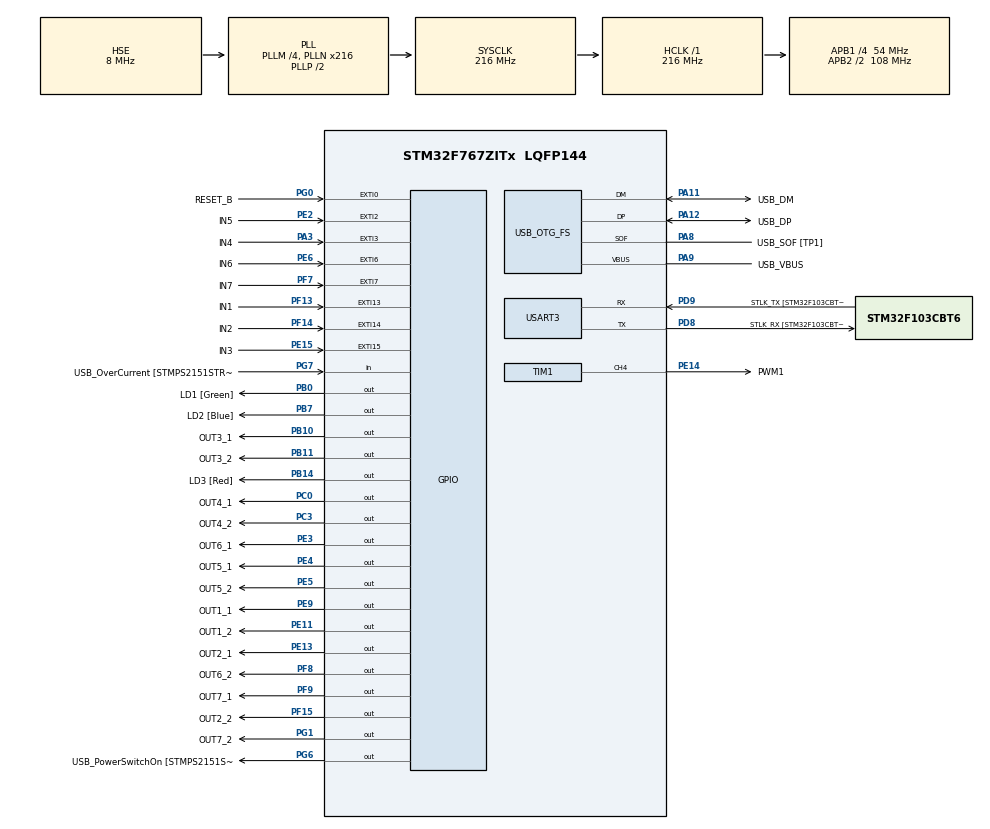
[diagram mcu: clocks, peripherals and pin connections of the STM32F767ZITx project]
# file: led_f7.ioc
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Mcu.Family=STM32F7
Mcu.Name=STM32F767ZITx
Mcu.Package=LQFP144
NVIC.EXTI0_IRQn=true\:0\:0\:false\:false\:true\:true\:true\:true
NVIC.EXTI15_10_IRQn=true\:1\:0\:true\:false\:true\:true\:true\:true
NVIC.EXTI2_IRQn=true\:0\:0\:false\:false\:true\:true\:true\:true
NVIC.EXTI3_IRQn=true\:0\:0\:false\:false\:true\:true\:true\:true
NVIC.EXTI9_5_IRQn=true\:0\:0\:false\:false\:true\:true\:true\:true
NVIC.PriorityGroup=NVIC_PRIORITYGROUP_4
PA1.GPIO_Label=RMII_REF_CLK [LAN8742A-CZ-TR_REFCLK0]
PA1.Signal=ETH_REF_CLK
PA10.GPIO_Label=USB_ID
PA10.Signal=USB_OTG_FS_ID
PA11.GPIO_Label=USB_DM
PA11.Mode=Device_Only
PA11.Signal=USB_OTG_FS_DM
PA12.GPIO_Label=USB_DP
PA12.Mode=Device_Only
PA12.Signal=USB_OTG_FS_DP
PA13.GPIO_Label=TMS
PA13.Mode=Serial_Wire
PA13.Signal=SYS_JTMS-SWDIO
PA14.GPIO_Label=TCK
PA14.Mode=Serial_Wire
PA14.Signal=SYS_JTCK-SWCLK
PA2.GPIO_Label=RMII_MDIO [LAN8742A-CZ-TR_MDIO]
PA2.Signal=ETH_MDIO
PA3.GPIO_Label=IN4
PA3.Signal=GPXTI3
PA7.GPIO_Label=RMII_CRS_DV [LAN8742A-CZ-TR_CRS_DV]
PA7.Signal=ETH_CRS_DV
PA8.GPIO_Label=USB_SOF [TP1]
PA8.Mode=Activate_SOF_FS
PA8.Signal=USB_OTG_FS_SOF
PA9.GPIO_Label=USB_VBUS
PA9.Mode=Activate_VBUS
PA9.Signal=USB_OTG_FS_VBUS
PB0.GPIO_Label=LD1 [Green]
PB0.Signal=GPIO_Output
PB10.GPIO_Label=OUT3_1
PB10.Signal=GPIO_Output
PB11.GPIO_Label=OUT3_2
PB11.Signal=GPIO_Output
PB13.GPIO_Label=RMII_TXD1 [LAN8742A-CZ-TR_TXD1]
PB13.Signal=ETH_TXD1
PB14.GPIO_Label=LD3 [Red]
PB14.Signal=GPIO_Output
PB3.GPIO_Label=SWO
PB3.Signal=SYS_JTDO-SWO
PB7.GPIO_Label=LD2 [Blue]
PB7.Signal=GPIO_Output
PC0.GPIO_Label=OUT4_1
PC0.Signal=GPIO_Output
PC1.GPIO_Label=RMII_MDC [LAN8742A-CZ-TR_MDC]
PC1.Signal=ETH_MDC
PC14/OSC32_IN.Mode=LSE-External-Oscillator
PC14/OSC32_IN.Signal=RCC_OSC32_IN
PC15/OSC32_OUT.Mode=LSE-External-Oscillator
PC15/OSC32_OUT.Signal=RCC_OSC32_OUT
PC3.GPIO_Label=OUT4_2
PC3.Signal=GPIO_Output
PC4.GPIO_Label=RMII_RXD0 [LAN8742A-CZ-TR_RXD0]
PC4.Signal=ETH_RXD0
PC5.GPIO_Label=RMII_RXD1 [LAN8742A-CZ-TR_RXD1]
PC5.Signal=ETH_RXD1
PD8.GPIO_Label=STLK_RX [STM32F103CBT6_PA3]
PD8.Mode=Asynchronous
PD8.Signal=USART3_TX
PD9.GPIO_Label=STLK_TX [STM32F103CBT6_PA2]
PD9.Mode=Asynchronous
PD9.Signal=USART3_RX
PE11.GPIO_Label=OUT1_2
PE11.Signal=GPIO_Output
PE13.GPIO_Label=OUT2_1
PE13.Signal=GPIO_Output
PE14.GPIO_Label=PWM1
PE14.GPIO_Speed=GPIO_SPEED_FREQ_VERY_HIGH
PE14.Signal=S_TIM1_CH4
PE15.GPIO_Label=IN3
PE15.Signal=GPXTI15
PE2.GPIO_Label=IN5
PE2.Signal=GPXTI2
PE3.GPIO_Label=OUT6_1
PE3.Signal=GPIO_Output
PE4.GPIO_Label=OUT5_1
PE4.Signal=GPIO_Output
PE5.GPIO_Label=OUT5_2
PE5.Signal=GPIO_Output
PE6.GPIO_Label=IN6
PE6.Signal=GPXTI6
PE9.GPIO_Label=OUT1_1
PE9.Signal=GPIO_Output
PF13.GPIO_Label=IN1
PF13.GPIO_PuPd=GPIO_NOPULL
PF13.Signal=GPXTI13
PF14.GPIO_Label=IN2
PF14.Signal=GPXTI14
PF15.GPIO_Label=OUT2_2
PF15.Signal=GPIO_Output
PF7.GPIO_Label=IN7
PF7.Signal=GPXTI7
PF8.GPIO_Label=OUT6_2
PF8.Signal=GPIO_Output
PF9.GPIO_Label=OUT7_1
PF9.Signal=GPIO_Output
PG0.GPIO_Label=RESET_B
PG0.Signal=GPXTI0
PG1.GPIO_Label=OUT7_2
PG1.Signal=GPIO_Output
PG11.GPIO_Label=RMII_TX_EN [LAN8742A-CZ-TR_TXEN]
PG11.Signal=ETH_TX_EN
PG13.GPIO_Label=RMII_TXD0 [LAN8742A-CZ-TR_TXD0]
PG13.Signal=ETH_TXD0
PG6.GPIO_Label=USB_PowerSwitchOn [STMPS2151STR_EN]
PG6.Signal=GPIO_Output
PG7.GPIO_Label=USB_OverCurrent [STMPS2151STR_FAULT]
PG7.Signal=GPIO_Input
PH0/OSC_IN.GPIO_Label=MCO [STM32F103CBT6_PA8]
PH0/OSC_IN.Mode=HSE-External-Clock-Source
PH0/OSC_IN.Signal=RCC_OSC_IN
PH1/OSC_OUT.Mode=HSE-External-Clock-Source
PH1/OSC_OUT.Signal=RCC_OSC_OUT
ProjectManager.HeapSize=0x200
ProjectManager.StackSize=0x400
ProjectManager.TargetToolchain=STM32CubeIDE
RCC.48MHZClocksFreq_Value=24000000
RCC.AHBFreq_Value=216000000
RCC.APB1CLKDivider=RCC_HCLK_DIV4
RCC.APB1Freq_Value=54000000
RCC.APB1TimFreq_Value=108000000
RCC.APB2CLKDivider=RCC_HCLK_DIV2
RCC.APB2Freq_Value=108000000
RCC.APB2TimFreq_Value=216000000
RCC.CortexFreq_Value=216000000
RCC.HCLKFreq_Value=216000000
RCC.HSE_VALUE=8000000
RCC.HSI_VALUE=16000000
RCC.PLLM=4
RCC.PLLMUL=RCC_PLL_MUL9
RCC.PLLN=216
RCC.PLLQ=9
RCC.PRESCALERUSB=RCC_USBCLKSOURCE_PLL_DIV1_5
RCC.SYSCLKFreq_VALUE=216000000
RCC.SYSCLKSource=RCC_SYSCLKSOURCE_PLLCLK
RCC.SYSCLKSourceVirtual=RCC_SYSCLKSOURCE_PLLCLK
RCC.USBFreq_Value=48000000
RCC.VCOOutputFreq_Value=432000000
SH.S_TIM1_CH4.0=TIM1_CH4,PWM Generation4 CH4
TIM1.Channel-PWM\ Generation4\ CH4=TIM_CHANNEL_4
USART3.VirtualMode-Asynchronous=VM_ASYNC
USB_OTG_FS.VirtualMode=Device_Only
VP_TIM2_VS_ClockSourceINT.Mode=Internal
board=NUCLEO-F767ZI

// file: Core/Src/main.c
/* USER CODE BEGIN Header */
/**
  ******************************************************************************
  * @file           : main.c
  * @brief          : Main program body
  ******************************************************************************
  * @attention
  *
  * Copyright (c) 2022 STMicroelectronics.
  * All rights reserved.
  *
  * This software is licensed under terms that can be found in the LICENSE file
  * in the root directory of this software component.
  * If no LICENSE file comes with this software, it is provided AS-IS.
  *
  ******************************************************************************
  */
/* USER CODE END Header */
#include "main.h"
#include "tim.h"
#include "usart.h"
#include "usb_otg.h"
#include "gpio.h"

void SystemClock_Config(void);

int main(void)
{

  /* MCU Configuration--------------------------------------------------------*/

  /* Reset of all peripherals, Initializes the Flash interface and the Systick. */
  HAL_Init();

  /* Configure the system clock */
  SystemClock_Config();

  /* Initialize all configured peripherals */
  MX_GPIO_Init();
  MX_USART3_UART_Init();
  MX_USB_OTG_FS_PCD_Init();
  MX_TIM2_Init();
  MX_TIM1_Init();

  /* Infinite loop */
  while (1)
  {

  }
}

void SystemClock_Config(void)
{
  RCC_OscInitTypeDef RCC_OscInitStruct = {0};
  RCC_ClkInitTypeDef RCC_ClkInitStruct = {0};

  /** Configure LSE Drive Capability
  */
  HAL_PWR_EnableBkUpAccess();

  /** Configure the main internal regulator output voltage
  */
  __HAL_RCC_PWR_CLK_ENABLE();
  __HAL_PWR_VOLTAGESCALING_CONFIG(PWR_REGULATOR_VOLTAGE_SCALE1);

  /** Initializes the RCC Oscillators according to the specified parameters
  * in the RCC_OscInitTypeDef structure.
  */
  RCC_OscInitStruct.OscillatorType = RCC_OSCILLATORTYPE_HSE;
  RCC_OscInitStruct.HSEState = RCC_HSE_BYPASS;
  RCC_OscInitStruct.PLL.PLLState = RCC_PLL_ON;
  RCC_OscInitStruct.PLL.PLLSource = RCC_PLLSOURCE_HSE;
  RCC_OscInitStruct.PLL.PLLM = 4;
  RCC_OscInitStruct.PLL.PLLN = 216;
  RCC_OscInitStruct.PLL.PLLP = RCC_PLLP_DIV2;
  RCC_OscInitStruct.PLL.PLLQ = 9;
  RCC_OscInitStruct.PLL.PLLR = 2;
  if (HAL_RCC_OscConfig(&RCC_OscInitStruct) != HAL_OK)
  {
    Error_Handler();
  }

  /** Activate the Over-Drive mode
  */
  if (HAL_PWREx_EnableOverDrive() != HAL_OK)
  {
    Error_Handler();
  }

  /** Initializes the CPU, AHB and APB buses clocks
  */
  RCC_ClkInitStruct.ClockType = RCC_CLOCKTYPE_HCLK|RCC_CLOCKTYPE_SYSCLK
                              |RCC_CLOCKTYPE_PCLK1|RCC_CLOCKTYPE_PCLK2;
  RCC_ClkInitStruct.SYSCLKSource = RCC_SYSCLKSOURCE_PLLCLK;
  RCC_ClkInitStruct.AHBCLKDivider = RCC_SYSCLK_DIV1;
  RCC_ClkInitStruct.APB1CLKDivider = RCC_HCLK_DIV4;
  RCC_ClkInitStruct.APB2CLKDivider = RCC_HCLK_DIV2;

  if (HAL_RCC_ClockConfig(&RCC_ClkInitStruct, FLASH_LATENCY_7) != HAL_OK)
  {
    Error_Handler();
  }
}

/* USER CODE BEGIN 4 */
volatile int count = 0;
volatile int count2 = 0;
volatile int count3 = 0;
volatile int count4 = 0;
volatile int count5 = 0;
volatile int count6 = 0;
volatile int count7 = 0;
void HAL_GPIO_EXTI_Callback(uint16_t GPIO_Pin){
	if(GPIO_Pin == RESET_B_Pin){
		count = 0;
		count2 = 0;
		count3 = 0;
		count4 = 0;
		count5 = 0;
		count6 = 0;
		count7 = 0;
		HAL_GPIO_WritePin(OUT1_1_GPIO_Port, OUT1_1_Pin, RESET);
		HAL_GPIO_WritePin(OUT1_2_GPIO_Port, OUT1_2_Pin, RESET);
		HAL_GPIO_WritePin(OUT2_1_GPIO_Port, OUT2_1_Pin, RESET);
		HAL_GPIO_WritePin(OUT2_2_GPIO_Port, OUT2_2_Pin, RESET);
		HAL_GPIO_WritePin(OUT3_1_GPIO_Port, OUT3_1_Pin, RESET);
		HAL_GPIO_WritePin(OUT3_2_GPIO_Port, OUT3_2_Pin, RESET);
		HAL_GPIO_WritePin(OUT4_1_GPIO_Port, OUT4_1_Pin, RESET);
		HAL_GPIO_WritePin(OUT4_2_GPIO_Port, OUT4_2_Pin, RESET);
		HAL_GPIO_WritePin(OUT5_1_GPIO_Port, OUT5_1_Pin, RESET);
		HAL_GPIO_WritePin(OUT5_2_GPIO_Port, OUT5_2_Pin, RESET);
		HAL_GPIO_WritePin(OUT6_1_GPIO_Port, OUT6_1_Pin, RESET);
		HAL_GPIO_WritePin(OUT6_2_GPIO_Port, OUT6_2_Pin, RESET);
		HAL_GPIO_WritePin(OUT7_1_GPIO_Port, OUT7_1_Pin, RESET);
		HAL_GPIO_WritePin(OUT7_2_GPIO_Port, OUT7_2_Pin, RESET);
		HAL_GPIO_WritePin(LD1_GPIO_Port, LD1_Pin, RESET);
	}
	if(GPIO_Pin == IN1_Pin){
		HAL_GPIO_WritePin(LD1_GPIO_Port, LD1_Pin, SET);
		count++;
		if(count == 3){
			count = 0;
		}
		if(count == 0){
			HAL_GPIO_WritePin(OUT1_1_GPIO_Port, OUT1_1_Pin, RESET);
			HAL_GPIO_WritePin(OUT1_2_GPIO_Port, OUT1_2_Pin, RESET);
		}
		if(count == 1){
			HAL_GPIO_WritePin(OUT1_1_GPIO_Port, OUT1_1_Pin, SET);
			HAL_GPIO_WritePin(OUT1_2_GPIO_Port, OUT1_2_Pin, RESET);
		}
		if(count == 2){
			HAL_GPIO_WritePin(OUT1_1_GPIO_Port, OUT1_1_Pin, RESET);
			HAL_GPIO_WritePin(OUT1_2_GPIO_Port, OUT1_2_Pin, SET);
		}
	}
	if(GPIO_Pin == IN2_Pin){
		HAL_GPIO_WritePin(LD1_GPIO_Port, LD1_Pin, SET);
		count2++;
		if(count2 == 3){
			count2 = 0;
		}
		if(count2 == 0){
			HAL_GPIO_WritePin(OUT2_1_GPIO_Port, OUT2_1_Pin, RESET);
			HAL_GPIO_WritePin(OUT2_2_GPIO_Port, OUT2_2_Pin, RESET);
		}
		if(count2 == 1){
			HAL_GPIO_WritePin(OUT2_1_GPIO_Port, OUT2_1_Pin, SET);
			HAL_GPIO_WritePin(OUT2_2_GPIO_Port, OUT2_2_Pin, RESET);
		}
		if(count2 == 2){
			HAL_GPIO_WritePin(OUT1_1_GPIO_Port, OUT2_1_Pin, RESET);
			HAL_GPIO_WritePin(OUT2_2_GPIO_Port, OUT2_2_Pin, SET);
		}
	}
	if(GPIO_Pin == IN3_Pin){
		HAL_GPIO_WritePin(LD1_GPIO_Port, LD1_Pin, SET);
		count3++;
		if(count3 == 3){
			count3 = 0;
		}
		if(count3 == 0){
			HAL_GPIO_WritePin(OUT3_1_GPIO_Port, OUT3_1_Pin, RESET);
			HAL_GPIO_WritePin(OUT3_2_GPIO_Port, OUT3_2_Pin, RESET);
		}
		if(count3 == 1){
			HAL_GPIO_WritePin(OUT3_1_GPIO_Port, OUT3_1_Pin, SET);
			HAL_GPIO_WritePin(OUT3_2_GPIO_Port, OUT3_2_Pin, RESET);
		}
		if(count3 == 2){
			HAL_GPIO_WritePin(OUT3_1_GPIO_Port, OUT3_1_Pin, RESET);
			HAL_GPIO_WritePin(OUT3_2_GPIO_Port, OUT3_2_Pin, SET);
		}
	}
	if(GPIO_Pin == IN4_Pin){
		HAL_GPIO_WritePin(LD1_GPIO_Port, LD1_Pin, SET);
		count4++;
		if(count4 == 3){
			count4 = 0;
		}
		if(count4 == 0){
			HAL_GPIO_WritePin(OUT4_1_GPIO_Port, OUT4_1_Pin, RESET);
			HAL_GPIO_WritePin(OUT4_2_GPIO_Port, OUT4_2_Pin, RESET);
		}
		if(count4 == 1){
			HAL_GPIO_WritePin(OUT4_1_GPIO_Port, OUT4_1_Pin, SET);
			HAL_GPIO_WritePin(OUT4_2_GPIO_Port, OUT4_2_Pin, RESET);
		}
		if(count4 == 2){
			HAL_GPIO_WritePin(OUT4_1_GPIO_Port, OUT4_1_Pin, RESET);
			HAL_GPIO_WritePin(OUT4_2_GPIO_Port, OUT4_2_Pin, SET);
		}
	}
	if(GPIO_Pin == IN5_Pin){
		HAL_GPIO_WritePin(LD1_GPIO_Port, LD1_Pin, SET);
		count5++;
		if(count5 == 3){
			count5 = 0;
		}
		if(count5 == 0){
			HAL_GPIO_WritePin(OUT5_1_GPIO_Port, OUT5_1_Pin, RESET);
			HAL_GPIO_WritePin(OUT5_2_GPIO_Port, OUT5_2_Pin, RESET);
		}
		if(count5 == 1){
			HAL_GPIO_WritePin(OUT5_1_GPIO_Port, OUT5_1_Pin, SET);
			HAL_GPIO_WritePin(OUT5_2_GPIO_Port, OUT5_2_Pin, RESET);
		}
		if(count5 == 2){
			HAL_GPIO_WritePin(OUT5_1_GPIO_Port, OUT5_1_Pin, RESET);
			HAL_GPIO_WritePin(OUT5_2_GPIO_Port, OUT5_2_Pin, SET);
		}
	}
	if(GPIO_Pin == IN6_Pin){
		HAL_GPIO_WritePin(LD1_GPIO_Port, LD1_Pin, SET);
		count6++;
		if(count6 == 3){
			count6 = 0;
		}
		if(count6 == 0){
			HAL_GPIO_WritePin(OUT6_1_GPIO_Port, OUT6_1_Pin, RESET);
			HAL_GPIO_WritePin(OUT6_2_GPIO_Port, OUT6_2_Pin, RESET);
		}
		if(count6 == 1){
			HAL_GPIO_WritePin(OUT6_1_GPIO_Port, OUT6_1_Pin, SET);
			HAL_GPIO_WritePin(OUT6_2_GPIO_Port, OUT6_2_Pin, RESET);
		}
		if(count6 == 2){
			HAL_GPIO_WritePin(OUT6_1_GPIO_Port, OUT6_1_Pin, RESET);
			HAL_GPIO_WritePin(OUT6_2_GPIO_Port, OUT6_2_Pin, SET);
		}
	}
	if(GPIO_Pin == IN7_Pin){
		HAL_GPIO_WritePin(LD1_GPIO_Port, LD1_Pin, SET);
		count7++;
		if(count7 == 3){
			count7 = 0;
		}
		if(count7 == 0){
			HAL_GPIO_WritePin(OUT7_1_GPIO_Port, OUT7_1_Pin, RESET);
			HAL_GPIO_WritePin(OUT7_2_GPIO_Port, OUT7_2_Pin, RESET);
		}
		if(count7 == 1){
			HAL_GPIO_WritePin(OUT7_1_GPIO_Port, OUT7_1_Pin, SET);
			HAL_GPIO_WritePin(OUT7_2_GPIO_Port, OUT7_2_Pin, RESET);
		}
		if(count7 == 2){
			HAL_GPIO_WritePin(OUT7_1_GPIO_Port, OUT7_1_Pin, RESET);
			HAL_GPIO_WritePin(OUT7_2_GPIO_Port, OUT7_2_Pin, SET);
		}
	}
}

/* USER CODE END 4 */

void Error_Handler(void)
{
  __disable_irq();
  while (1)
  {
  }
}
